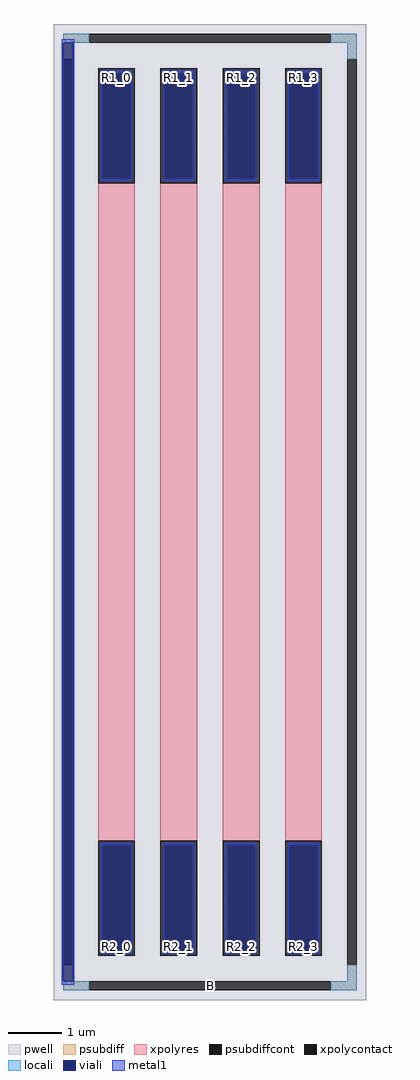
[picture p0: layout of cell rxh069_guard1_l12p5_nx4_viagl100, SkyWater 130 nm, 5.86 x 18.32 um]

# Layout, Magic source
magic
tech sky130A
magscale 1 2
<< pwell >>
rect -586 -1832 586 1832
<< psubdiff >>
rect -550 1762 -454 1796
rect 454 1762 550 1796
rect -550 1700 -516 1762
rect 516 1700 550 1762
rect -550 -1762 -516 -1700
rect 516 -1762 550 -1700
rect -550 -1796 -454 -1762
rect 454 -1796 550 -1762
<< psubdiffcont >>
rect -454 1762 454 1796
rect -550 -1700 -516 1700
rect 516 -1700 550 1700
rect -454 -1796 454 -1762
<< xpolycontact >>
rect -420 1234 -282 1666
rect -420 -1666 -282 -1234
rect -186 1234 -48 1666
rect -186 -1666 -48 -1234
rect 48 1234 186 1666
rect 48 -1666 186 -1234
rect 282 1234 420 1666
rect 282 -1666 420 -1234
<< xpolyres >>
rect -420 -1234 -282 1234
rect -186 -1234 -48 1234
rect 48 -1234 186 1234
rect 282 -1234 420 1234
<< locali >>
rect -550 1762 -454 1796
rect 454 1762 550 1796
rect 516 1700 550 1762
rect 516 -1762 550 -1700
rect -550 -1796 -454 -1762
rect 454 -1796 550 -1762
<< viali >>
rect -550 1700 -516 1762
rect -550 -1700 -516 1700
rect -404 1251 -298 1648
rect -170 1251 -64 1648
rect 64 1251 170 1648
rect 298 1251 404 1648
rect -404 -1648 -298 -1251
rect -170 -1648 -64 -1251
rect 64 -1648 170 -1251
rect 298 -1648 404 -1251
rect -550 -1762 -516 -1700
<< metal1 >>
rect -556 1762 -510 1774
rect -556 -1762 -550 1762
rect -516 -1762 -510 1762
rect -410 1648 -292 1660
rect -410 1251 -404 1648
rect -298 1251 -292 1648
rect -410 1239 -292 1251
rect -176 1648 -58 1660
rect -176 1251 -170 1648
rect -64 1251 -58 1648
rect -176 1239 -58 1251
rect 58 1648 176 1660
rect 58 1251 64 1648
rect 170 1251 176 1648
rect 58 1239 176 1251
rect 292 1648 410 1660
rect 292 1251 298 1648
rect 404 1251 410 1648
rect 292 1239 410 1251
rect -410 -1251 -292 -1239
rect -410 -1648 -404 -1251
rect -298 -1648 -292 -1251
rect -410 -1660 -292 -1648
rect -176 -1251 -58 -1239
rect -176 -1648 -170 -1251
rect -64 -1648 -58 -1251
rect -176 -1660 -58 -1648
rect 58 -1251 176 -1239
rect 58 -1648 64 -1251
rect 170 -1648 176 -1251
rect 58 -1660 176 -1648
rect 292 -1251 410 -1239
rect 292 -1648 298 -1251
rect 404 -1648 410 -1251
rect 292 -1660 410 -1648
rect -556 -1774 -510 -1762
<< labels >>
rlabel psubdiffcont 0 -1779 0 -1779 0 B
port 1 nsew
rlabel xpolycontact -351 1631 -351 1631 0 R1_0
port 2 nsew
rlabel xpolycontact -351 -1631 -351 -1631 0 R2_0
port 3 nsew
rlabel xpolycontact -117 1631 -117 1631 0 R1_1
port 4 nsew
rlabel xpolycontact -117 -1631 -117 -1631 0 R2_1
port 5 nsew
rlabel xpolycontact 117 1631 117 1631 0 R1_2
port 6 nsew
rlabel xpolycontact 117 -1631 117 -1631 0 R2_2
port 7 nsew
rlabel xpolycontact 351 1631 351 1631 0 R1_3
port 8 nsew
rlabel xpolycontact 351 -1631 351 -1631 0 R2_3
port 9 nsew
<< properties >>
string FIXED_BBOX -533 -1779 533 1779
string gencell sky130_fd_pr__res_xhigh_po_0p69
string library sky130
string parameters w 0.690 l 12.5 m 1 nx 4 wmin 0.690 lmin 0.50 class resistor rho 2000 val 36.777k dummy 0 dw 0.0 term 188.2 sterm 0.0 caplen 0 wmax 0.690 guard 1 glc 1 grc 1 gtc 1 gbc 1 compatible {sky130_fd_pr__res_xhigh_po_0p35  sky130_fd_pr__res_xhigh_po_0p69 sky130_fd_pr__res_xhigh_po_1p41  sky130_fd_pr__res_xhigh_po_2p85 sky130_fd_pr__res_xhigh_po_5p73} snake 0 full_metal 1 n_guard 0 hv_guard 0 vias 1 viagb 0 viagt 0 viagl 100 viagr 0 doports 1
<< end >>
